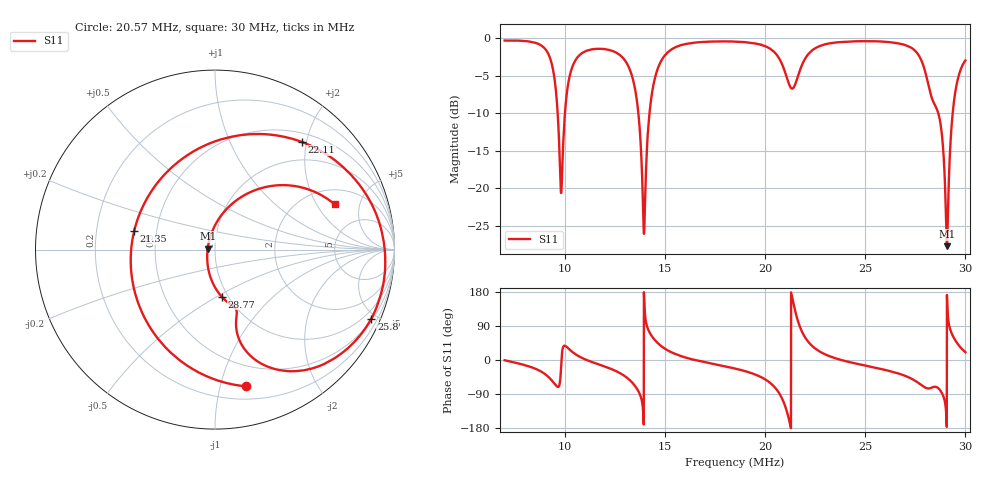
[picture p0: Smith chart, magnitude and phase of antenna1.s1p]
# HZ S RI R 50
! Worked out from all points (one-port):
!   3097 points, 7.005 MHz to 30 MHz, reference 50 ohm
!   lowest |S11| = -27.7 dB at 29.08 MHz (marker M1), VSWR 1.09, Z = 46.1 + j0.553 ohm
!   |S11| at or under -10 dB: 9.653 MHz to 10.01 MHz (361.6 kHz wide, 3.68 % of centre); 13.68 MHz to 14.23 MHz (554.1 kHz wide, 3.97 % of centre); 28.65 MHz to 29.37 MHz (715.4 kHz wide, 2.47 % of centre)
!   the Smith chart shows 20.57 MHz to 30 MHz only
!   S11 on the Smith chart (normalised r, x): 20.57 MHz: 0.31, -1.21; 21.35 MHz: 0.37, +0.10; 22.11 MHz: 0.65, +1.91; 25.8 MHz: 0.57, -4.68; 28.77 MHz: 0.93, -0.53; 30 MHz: 2.82, +2.88
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7004608  0.967 -0.0111
8512492  0.865 -0.3578
9262720  0.4948 -0.5569
9879244  0.1213 0.0516
1.01318e7  0.3793 0.2484
1.051062e7  0.6751 0.1976
1.150598e7  0.8416 -0.1176
1.275388e7  0.6394 -0.4372
1.354125e7  0.1471 -0.414
1.395722e7  -0.0498 0.000867
1.446975e7  0.2995 0.4224
1.562852e7  0.8589 0.2105
1.850315e7  0.8787 -0.365
1.978077e7  0.6466 -0.6373
2.056814e7  0.174 -0.7621
2.095439e7  -0.2553 -0.5655
2.134808e7  -0.4506 0.1023
2.137779e7  -0.4344 0.1597
2.171205e7  -0.0216 0.5951
2.211316e7  0.4834 0.5999
2.287824e7  0.8584 0.2799
2.425242e7  0.9481 -0.099
2.580488e7  0.8715 -0.384
2.712706e7  0.6316 -0.6253
2.876865e7  0.0372 -0.2619
2.908062e7  -0.0408 0.00599
2.94446e7  0.215 0.3279
3.00017e7  0.6665 0.2521
